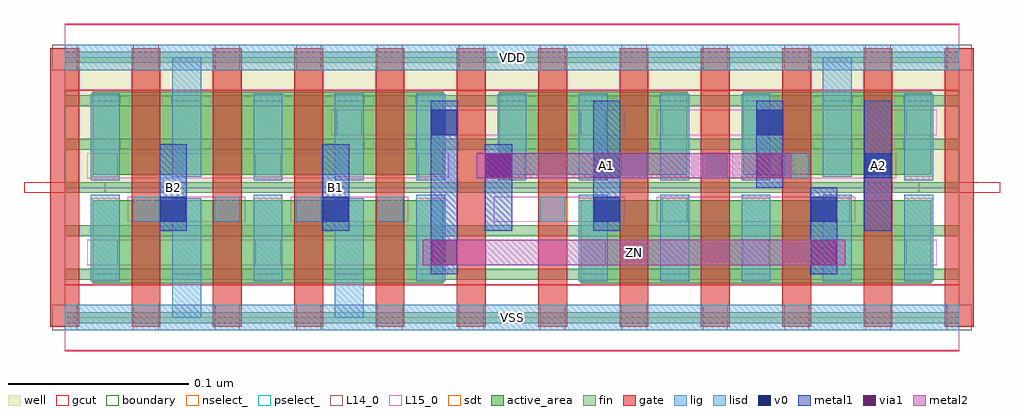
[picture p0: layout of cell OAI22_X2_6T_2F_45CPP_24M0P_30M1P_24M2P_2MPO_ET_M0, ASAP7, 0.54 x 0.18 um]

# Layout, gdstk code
import gdstk
lib = gdstk.Library(unit=1e-6, precision=2.5e-10)
def R(c, l, rs):  # rectangles x0, y0, x1, y1
    for r in rs: c.add(gdstk.rectangle(r[:2], r[2:], *l))
def A(c, l, x, y, w, h, nx, ny, dx, dy):  # array of equal rectangles
    R(c, l, [(x+i*dx, y+j*dy, x+i*dx+w, y+j*dy+h) for i in range(nx) for j in range(ny)])
well = (1, 0)
fin = (2, 0)
gate = (7, 0)
gcut = (10, 0)
active_area = (11, 0)
nselect_ = (12, 0)
pselect_ = (13, 0)
L14_0 = (14, 0)
L15_0 = (15, 0)
lig = (16, 0)
lisd = (17, 0)
v0 = (18, 0)
metal1 = (19, 0)
metal2 = (20, 0)
via1 = (21, 0)
sdt = (88, 0)
boundary = (100, 0)

oai22_x2_6t_2f_45cpp_24m = lib.new_cell('OAI22_X2_6T_2F_45CPP_24M0P_30M1P_24M2P_2MPO_ET_M0')
R(oai22_x2_6t_2f_45cpp_24m, well, [(0,0.072,0.495,0.144)])
A(oai22_x2_6t_2f_45cpp_24m, fin, 0, -0.003, 0.495, 0.006, 1, 7, 0, 0.024)
A(oai22_x2_6t_2f_45cpp_24m, gate, -0.008, -0.005, 0.016, 0.154, 12, 1, 0.045, 0)
R(oai22_x2_6t_2f_45cpp_24m, gcut, [(0,-0.0185,0.495,0.0185), (-0.0225,0.069,0.0225,0.075), (0.2025,0.069,0.2475,0.075), (0.4725,0.069,0.5175,0.075), (0,0.1255,0.495,0.1625)])
A(oai22_x2_6t_2f_45cpp_24m, active_area, 0.1055, 0.079, 0.104, 0.046, 3, 1, 0.135, 0)
R(oai22_x2_6t_2f_45cpp_24m, active_area, [(0.0155,0.019,0.1195,0.065), (0.1055,0.019,0.2095,0.065), (0.2855,0.019,0.3895,0.065), (0.3755,0.019,0.4795,0.065), (0.0155,0.079,0.1195,0.125)])
R(oai22_x2_6t_2f_45cpp_24m, nselect_, [(0,0,0.495,0.072)])
R(oai22_x2_6t_2f_45cpp_24m, pselect_, [(0,0.072,0.495,0.144)])
A(oai22_x2_6t_2f_45cpp_24m, L14_0, -0.007, -0.007, 0.014, 0.014, 12, 2, 0.045, 0.144)
A(oai22_x2_6t_2f_45cpp_24m, L14_0, 0.0155, 0.029, 0.014, 0.014, 6, 1, 0.09, 0)
A(oai22_x2_6t_2f_45cpp_24m, L14_0, 0.038, 0.053, 0.014, 0.014, 4, 1, 0.045, 0)
A(oai22_x2_6t_2f_45cpp_24m, L14_0, 0.0155, 0.077, 0.014, 0.014, 3, 1, 0.09, 0)
A(oai22_x2_6t_2f_45cpp_24m, L14_0, 0.308, 0.077, 0.014, 0.014, 4, 1, 0.045, 0)
A(oai22_x2_6t_2f_45cpp_24m, L14_0, 0.2855, 0.101, 0.014, 0.014, 3, 1, 0.045, 0)
R(oai22_x2_6t_2f_45cpp_24m, L14_0, [(0.263,0.053,0.277,0.067), (0.3305,0.053,0.3445,0.067), (0.4205,0.053,0.4345,0.067), (0.2405,0.077,0.2545,0.091), (0.1505,0.101,0.1645,0.115), (0.4655,0.101,0.4795,0.115)])
R(oai22_x2_6t_2f_45cpp_24m, L15_0, [(0,-0.018,0.495,0.018), (0.0125,0.029,0.4825,0.043), (0.035,0.053,0.1,0.067), (0.125,0.053,0.19,0.067), (0.2375,0.053,0.31,0.067), (0.3275,0.053,0.4375,0.067), (0.0125,0.077,0.2125,0.091), (0.23,0.077,0.2575,0.091), (0.29,0.077,0.37,0.091), (0.395,0.077,0.46,0.091), (0.1475,0.101,0.31,0.115), (0.3275,0.101,0.4825,0.115), (0,0.126,0.495,0.162)])
A(oai22_x2_6t_2f_45cpp_24m, lig, 0.038, 0.053, 0.014, 0.014, 4, 1, 0.045, 0)
A(oai22_x2_6t_2f_45cpp_24m, lig, 0.308, 0.077, 0.014, 0.014, 4, 1, 0.045, 0)
R(oai22_x2_6t_2f_45cpp_24m, lig, [(0,-0.007,0.495,0.007), (0.263,0.053,0.277,0.067), (0,0.137,0.495,0.151)])
A(oai22_x2_6t_2f_45cpp_24m, lisd, 0.0145, 0.02, 0.016, 0.048, 4, 1, 0.09, 0)
A(oai22_x2_6t_2f_45cpp_24m, lisd, 0.3295, 0.02, 0.016, 0.048, 4, 1, 0.045, 0)
A(oai22_x2_6t_2f_45cpp_24m, lisd, 0.1045, 0.076, 0.016, 0.048, 7, 1, 0.045, 0)
R(oai22_x2_6t_2f_45cpp_24m, lisd, [(0.0595,0,0.0755,0.066), (0.1495,0,0.1655,0.066), (0.0145,0.076,0.0305,0.124), (0.4645,0.076,0.4805,0.124), (0.0595,0.078,0.0755,0.144), (0.4195,0.078,0.4355,0.144)])
R(oai22_x2_6t_2f_45cpp_24m, v0, [(0.053,0.053,0.067,0.067), (0.143,0.053,0.157,0.067), (0.293,0.053,0.307,0.067), (0.413,0.053,0.427,0.067), (0.233,0.077,0.247,0.091), (0.293,0.077,0.307,0.091), (0.443,0.077,0.457,0.091), (0.203,0.101,0.217,0.115), (0.383,0.101,0.397,0.115)])
A(oai22_x2_6t_2f_45cpp_24m, metal1, 0.0525, 0.048, 0.015, 0.048, 3, 1, 0.09, 0)
R(oai22_x2_6t_2f_45cpp_24m, metal1, [(0.2025,0.024,0.2175,0.12), (0.4125,0.024,0.4275,0.072), (0.2925,0.048,0.3075,0.12), (0.4425,0.048,0.4575,0.12), (0.3825,0.072,0.3975,0.12)])
R(oai22_x2_6t_2f_45cpp_24m, metal2, [(0.198,0.029,0.432,0.043), (0.228,0.077,0.402,0.091)])
R(oai22_x2_6t_2f_45cpp_24m, via1, [(0.203,0.029,0.217,0.043), (0.413,0.029,0.427,0.043), (0.233,0.077,0.247,0.091), (0.383,0.077,0.397,0.091)])
A(oai22_x2_6t_2f_45cpp_24m, sdt, 0.0145, 0.024, 0.016, 0.042, 5, 1, 0.045, 0)
A(oai22_x2_6t_2f_45cpp_24m, sdt, 0.2845, 0.024, 0.016, 0.042, 5, 1, 0.045, 0)
A(oai22_x2_6t_2f_45cpp_24m, sdt, 0.0145, 0.078, 0.016, 0.042, 11, 1, 0.045, 0)
R(oai22_x2_6t_2f_45cpp_24m, boundary, [(0,0,0.495,0.144)])
oai22_x2_6t_2f_45cpp_24m.add(gdstk.Label('A1', (0.3,0.084), layer=19, texttype=251))
oai22_x2_6t_2f_45cpp_24m.add(gdstk.Label('ZN', (0.315,0.036), layer=20, texttype=251))
oai22_x2_6t_2f_45cpp_24m.add(gdstk.Label('A2', (0.45,0.084), layer=19, texttype=251))
oai22_x2_6t_2f_45cpp_24m.add(gdstk.Label('B1', (0.15,0.072), layer=19, texttype=251))
oai22_x2_6t_2f_45cpp_24m.add(gdstk.Label('B2', (0.06,0.072), layer=19, texttype=251))
oai22_x2_6t_2f_45cpp_24m.add(gdstk.Label('VDD', (0.2475,0.144), layer=15, texttype=251))
oai22_x2_6t_2f_45cpp_24m.add(gdstk.Label('VSS', (0.2475,0), layer=15, texttype=251))
oai22_x2_6t_2f_45cpp_24m.add(gdstk.Label('VDD', (0.2475,0.144), layer=1, texttype=251))
oai22_x2_6t_2f_45cpp_24m.add(gdstk.Label('VSS', (0.2475,0), layer=3, texttype=251))

lib.write_gds('OAI22_X2_6T_2F_45CPP_24M0P_30M1P_24M2P_2MPO_ET_M0.gds')
